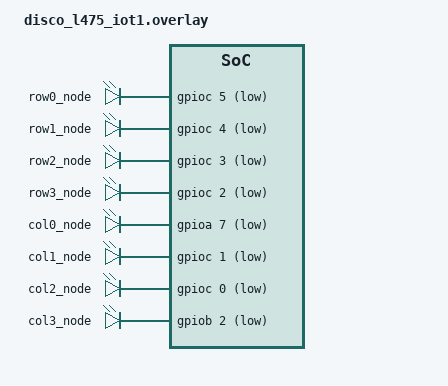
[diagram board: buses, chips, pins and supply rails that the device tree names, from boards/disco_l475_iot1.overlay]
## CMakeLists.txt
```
# SPDX-License-Identifier: Apache-2.0

cmake_minimum_required(VERSION 3.20.0)
find_package(Zephyr REQUIRED HINTS $ENV{ZEPHYR_BASE})
project(task2)

target_sources(app PRIVATE src/main.c)

# dt_compat_check_additional_bindings(dts/bindings/input)
```

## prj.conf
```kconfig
CONFIG_GPIO=y
CONFIG_MAIN_STACK_SIZE=2048
```

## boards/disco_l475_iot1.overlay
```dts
/ {
    aliases {
        row0 = &row0_node;
        row1 = &row1_node;
        row2 = &row2_node;
        row3 = &row3_node;
        col0 = &col0_node;
        col1 = &col1_node;
        col2 = &col2_node;
        col3 = &col3_node;
    };

    keypad {
        compatible = "gpio-leds";

        row0_node: row0_node { gpios = <&gpioc 5 GPIO_ACTIVE_LOW>; };
        row1_node: row1_node { gpios = <&gpioc 4 GPIO_ACTIVE_LOW>; };
        row2_node: row2_node { gpios = <&gpioc 3 GPIO_ACTIVE_LOW>; };
        row3_node: row3_node { gpios = <&gpioc 2 GPIO_ACTIVE_LOW>; };

        col0_node: col0_node { gpios = <&gpioa 7 GPIO_ACTIVE_LOW>; };
        col1_node: col1_node { gpios = <&gpioc 1 GPIO_ACTIVE_LOW>; };
        col2_node: col2_node { gpios = <&gpioc 0 GPIO_ACTIVE_LOW>; };
        col3_node: col3_node { gpios = <&gpiob 2 GPIO_ACTIVE_LOW>; };
    };
};
```

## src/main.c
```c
#include <zephyr/kernel.h>
#include <zephyr/device.h>
#include <zephyr/drivers/gpio.h>
#include <zephyr/sys/printk.h>
#include <stdbool.h>

#define ROW_COUNT 4
#define COL_COUNT 4

#define ROW_ALIAS(i) DT_ALIAS(row##i)
#define COL_ALIAS(i) DT_ALIAS(col##i)
#define GPIO_SPEC(alias) GPIO_DT_SPEC_GET(alias, gpios)

// Rows: output
static const struct gpio_dt_spec rows[ROW_COUNT] = {
    GPIO_SPEC(ROW_ALIAS(0)),
    GPIO_SPEC(ROW_ALIAS(1)),
    GPIO_SPEC(ROW_ALIAS(2)),
    GPIO_SPEC(ROW_ALIAS(3)),
};

// Columns: input with pull-up
static const struct gpio_dt_spec cols[COL_COUNT] = {
    GPIO_SPEC(COL_ALIAS(0)),
    GPIO_SPEC(COL_ALIAS(1)),
    GPIO_SPEC(COL_ALIAS(2)),
    GPIO_SPEC(COL_ALIAS(3)),
};

static const char keymap[ROW_COUNT][COL_COUNT] = {
    {'1', '2', '3', 'A'},
    {'4', '5', '6', 'B'},
    {'7', '8', '9', 'C'},
    {'0', 'F', 'E', 'D'}
};

static bool prev_state[ROW_COUNT][COL_COUNT] = {0};

void main(void)
{
    printk("Initializing keypad...\n");

    for (int i = 0; i < ROW_COUNT; i++) {
        if (!device_is_ready(rows[i].port)) {
            printk("Row %d not ready\n", i);
            return;
        }
        gpio_pin_configure_dt(&rows[i], GPIO_OUTPUT_INACTIVE);
        gpio_pin_set_dt(&rows[i], 0);  // start LOW
    }

    for (int i = 0; i < COL_COUNT; i++) {
        if (!device_is_ready(cols[i].port)) {
            printk("Col %d not ready\n", i);
            return;
        }
        gpio_pin_configure_dt(&cols[i], GPIO_INPUT | GPIO_PULL_UP);
    }

    printk("Keypad ready. Scanning...\n");

    bool scanning_ready = false;

    while (1) {
        for (int r = 0; r < ROW_COUNT; r++) {
            for (int i = 0; i < ROW_COUNT; i++) {
                gpio_pin_set_dt(&rows[i], 0);
            }
    
            gpio_pin_set_dt(&rows[r], 1);
            k_busy_wait(100);
    
            for (int c = 0; c < COL_COUNT; c++) {
                bool pressed = gpio_pin_get_dt(&cols[c]) == 0;
    
                if (pressed && !prev_state[r][c]) {
                    if (scanning_ready) {
                        printk("Button %c is pressed\n", keymap[r][c]);
                    }
                    prev_state[r][c] = true;
                } else if (!pressed && prev_state[r][c]) {
                    prev_state[r][c] = false;
                }
            }
    
            gpio_pin_set_dt(&rows[r], 0);
        }
    
        // Enable printing after one clean scan
        if (!scanning_ready) {
            scanning_ready = true;
        }
    
        k_msleep(50);
    }
    
}
```
